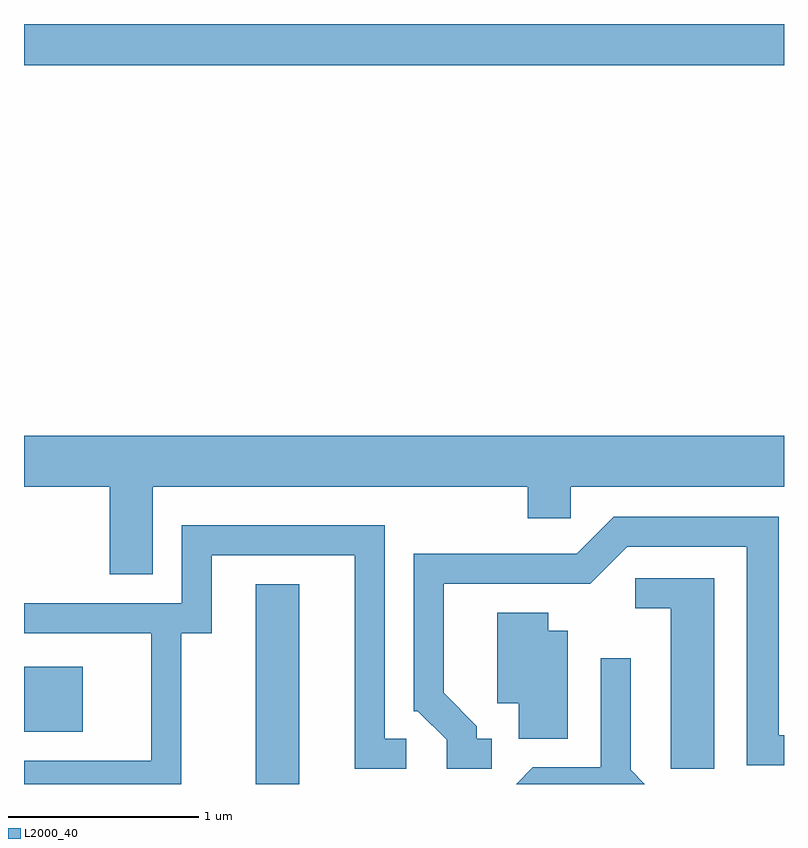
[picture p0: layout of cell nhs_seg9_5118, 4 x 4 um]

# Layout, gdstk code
import gdstk
lib = gdstk.Library(unit=1e-6, precision=1e-09)
def R(c, l, rs):  # rectangles x0, y0, x1, y1
    for r in rs: c.add(gdstk.rectangle(r[:2], r[2:], *l))
def P(c, l, *ps):  # polygons
    for p in ps: c.add(gdstk.Polygon(p, *l))
L2000_40 = (2000, 40)

nhs_seg9_5118 = lib.new_cell('nhs_seg9_5118')
R(nhs_seg9_5118, L2000_40, [(336.831,2032.432,337.059,2033.484), (335.611,2032.706,335.919,2033.049), (335.611,2036.216,339.611,2036.432)])
P(nhs_seg9_5118, L2000_40, [(336.289,2033.996),(338.261,2033.996),(338.261,2033.831),(338.489,2033.831),(338.489,2033.996),(339.611,2033.996),(339.611,2034.264),(335.611,2034.264),(335.611,2033.996),(336.061,2033.996),(336.061,2033.536),(336.289,2033.536)],
  [(338.073,2032.669),(337.994,2032.669),(337.994,2032.737),(337.819,2032.912),(337.819,2033.486),(338.592,2033.486),(338.787,2033.681),(339.416,2033.681),(339.416,2032.531),(339.611,2032.531),(339.611,2032.689),(339.584,2032.689),(339.584,2033.839),(338.714,2033.839),(338.519,2033.644),(337.661,2033.644),(337.661,2032.816),(337.684,2032.816),(337.836,2032.664),(337.836,2032.511),(338.073,2032.511)],
  [(336.439,2033.226),(336.599,2033.226),(336.599,2033.636),(337.351,2033.636),(337.351,2032.511),(337.623,2032.511),(337.623,2032.669),(337.509,2032.669),(337.509,2033.794),(336.441,2033.794),(336.441,2033.384),(335.611,2033.384),(335.611,2033.226),(336.281,2033.226),(336.281,2032.554),(335.611,2032.554),(335.611,2032.432),(336.439,2032.432)],
  [(339.244,2033.514),(338.828,2033.514),(338.828,2033.356),(339.016,2033.356),(339.016,2032.511),(339.244,2032.511)],
  [(338.474,2033.239),(338.369,2033.239),(338.369,2033.334),(338.101,2033.334),(338.101,2032.856),(338.216,2032.856),(338.216,2032.671),(338.474,2032.671)],
  [(338.804,2032.507),(338.804,2033.093),(338.646,2033.093),(338.646,2032.519),(338.289,2032.519),(338.202,2032.432),(338.879,2032.432)])

lib.write_gds('nhs_seg9_5118.gds')
